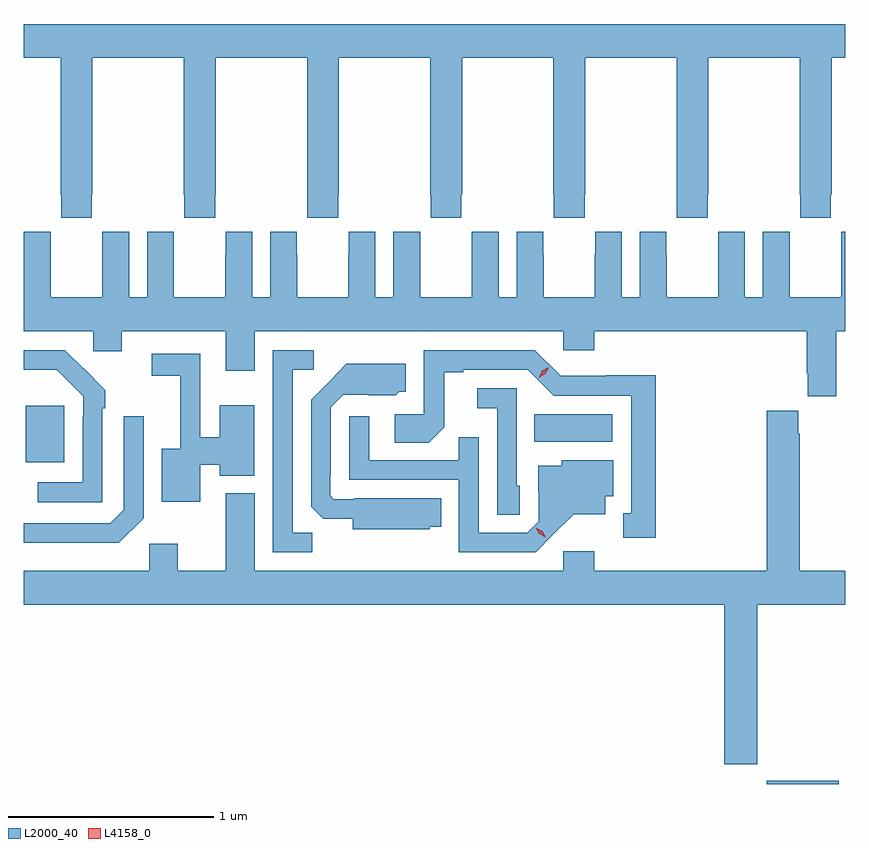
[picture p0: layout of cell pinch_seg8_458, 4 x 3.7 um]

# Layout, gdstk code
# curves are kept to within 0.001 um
import gdstk
lib = gdstk.Library(unit=1e-6, precision=1e-09)
def R(c, l, rs):  # rectangles x0, y0, x1, y1
    for r in rs: c.add(gdstk.rectangle(r[:2], r[2:], *l))
def P(c, l, *ps):  # polygons
    for p in ps: c.add(gdstk.Polygon(p, *l))
L2000_40 = (2000, 40)
L4158_0 = (4158, 0)

pinch_seg8_458 = lib.new_cell('pinch_seg8_458')
R(pinch_seg8_458, L2000_40, [(135.614,1128.946,135.964,1128.961), (132.005,1130.513,132.193,1130.788), (134.482,1130.612,134.863,1130.746)])
P(pinch_seg8_458, L2000_40, [(131.996,1132.484),(132.175,1132.484),(132.175,1131.817),(132.177,1131.817),(132.177,1131.705),(132.327,1131.705),(132.327,1131.817),(132.33,1131.817),(132.33,1132.484),(132.775,1132.484),(132.775,1131.817),(132.777,1131.817),(132.777,1131.705),(132.927,1131.705),(132.927,1131.817),(132.93,1131.817),(132.93,1132.484),(133.375,1132.484),(133.375,1131.817),(133.377,1131.817),(133.377,1131.705),(133.527,1131.705),(133.527,1131.817),(133.53,1131.817),(133.53,1132.484),(133.975,1132.484),(133.975,1131.817),(133.977,1131.817),(133.977,1131.705),(134.127,1131.705),(134.127,1131.817),(134.13,1131.817),(134.13,1132.484),(134.575,1132.484),(134.575,1131.817),(134.577,1131.817),(134.577,1131.705),(134.727,1131.705),(134.727,1131.817),(134.73,1131.817),(134.73,1132.484),(135.175,1132.484),(135.175,1131.817),(135.177,1131.817),(135.177,1131.705),(135.327,1131.705),(135.327,1131.817),(135.33,1131.817),(135.33,1132.484),(135.775,1132.484),(135.775,1131.817),(135.777,1131.817),(135.777,1131.705),(135.927,1131.705),(135.927,1131.817),(135.93,1131.817),(135.93,1132.484),(135.996,1132.484),(135.996,1132.648),(131.996,1132.648)],
  [(135.952,1131.152),(135.996,1131.152),(135.996,1131.637),(135.978,1131.637),(135.978,1131.524),(135.977,1131.524),(135.977,1131.316),(135.727,1131.316),(135.727,1131.524),(135.726,1131.524),(135.726,1131.637),(135.596,1131.637),(135.596,1131.316),(135.508,1131.316),(135.508,1131.637),(135.378,1131.637),(135.378,1131.524),(135.377,1131.524),(135.377,1131.316),(135.127,1131.316),(135.127,1131.524),(135.126,1131.524),(135.126,1131.637),(134.996,1131.637),(134.996,1131.316),(134.908,1131.316),(134.908,1131.637),(134.778,1131.637),(134.778,1131.524),(134.777,1131.524),(134.777,1131.316),(134.527,1131.316),(134.527,1131.524),(134.526,1131.524),(134.526,1131.637),(134.396,1131.637),(134.396,1131.316),(134.308,1131.316),(134.308,1131.637),(134.178,1131.637),(134.178,1131.524),(134.177,1131.524),(134.177,1131.316),(133.927,1131.316),(133.927,1131.524),(133.926,1131.524),(133.926,1131.637),(133.796,1131.637),(133.796,1131.316),(133.708,1131.316),(133.708,1131.637),(133.578,1131.637),(133.578,1131.524),(133.577,1131.524),(133.577,1131.316),(133.327,1131.316),(133.327,1131.524),(133.326,1131.524),(133.326,1131.637),(133.196,1131.637),(133.196,1131.316),(133.108,1131.316),(133.108,1131.637),(132.978,1131.637),(132.978,1131.524),(132.977,1131.524),(132.977,1131.316),(132.727,1131.316),(132.727,1131.524),(132.726,1131.524),(132.726,1131.637),(132.596,1131.637),(132.596,1131.316),(132.508,1131.316),(132.508,1131.637),(132.378,1131.637),(132.378,1131.524),(132.377,1131.524),(132.377,1131.316),(132.127,1131.316),(132.127,1131.524),(132.126,1131.524),(132.126,1131.637),(131.996,1131.637),(131.996,1131.152),(132.333,1131.152),(132.333,1131.054),(132.472,1131.054),(132.472,1131.152),(132.98,1131.152),(132.98,1130.958),(133.12,1130.958),(133.12,1131.152),(134.622,1131.152),(134.622,1131.059),(134.774,1131.059),(134.774,1131.152),(135.809,1131.152),(135.809,1130.947),(135.815,1130.947),(135.815,1130.835),(135.952,1130.835)],
  [(133.401,1130.171),(133.305,1130.171),(133.305,1130.964),(133.408,1130.964),(133.408,1131.06),(133.209,1131.06),(133.209,1130.076),(133.401,1130.076)],
  [(132.378,1130.777),(132.393,1130.777),(132.393,1130.865),(132.196,1131.06),(131.996,1131.06),(131.996,1130.964),(132.157,1130.964),(132.285,1130.835),(132.285,1130.735),(132.282,1130.735),(132.282,1130.415),(132.063,1130.415),(132.063,1130.319),(132.378,1130.319)],
  [(135.073,1130.936),(134.832,1130.936),(134.832,1130.934),(134.61,1130.934),(134.484,1131.06),(133.944,1131.06),(133.944,1130.748),(133.803,1130.748),(133.803,1130.608),(133.967,1130.608),(134.043,1130.684),(134.043,1130.952),(134.137,1130.952),(134.137,1130.964),(134.451,1130.964),(134.577,1130.838),(134.954,1130.838),(134.954,1130.265),(134.915,1130.265),(134.915,1130.145),(135.073,1130.145)],
  [(132.855,1130.5),(132.95,1130.5),(132.95,1130.447),(133.117,1130.447),(133.117,1130.791),(132.95,1130.791),(132.95,1130.636),(132.855,1130.636),(132.855,1131.042),(132.618,1131.042),(132.618,1130.934),(132.758,1130.934),(132.758,1130.578),(132.668,1130.578),(132.668,1130.321),(132.855,1130.321)],
  [(133.974,1130.198),(134.03,1130.198),(134.03,1130.338),(133.606,1130.338),(133.606,1130.334),(133.506,1130.334),(133.488,1130.352),(133.488,1130.452),(133.491,1130.452),(133.491,1130.781),(133.551,1130.841),(133.808,1130.84),(133.824,1130.856),(133.855,1130.856),(133.855,1130.992),(133.567,1130.992),(133.395,1130.818),(133.395,1130.296),(133.454,1130.237),(133.598,1130.237),(133.598,1130.186),(133.974,1130.186)],
  [(134.412,1130.4),(134.397,1130.4),(134.397,1130.874),(134.205,1130.874),(134.205,1130.777),(134.301,1130.777),(134.301,1130.257),(134.412,1130.257)],
  [(134.774,1130.08),(134.622,1130.08),(134.622,1129.984),(133.12,1129.984),(133.12,1130.362),(132.98,1130.362),(132.98,1129.984),(132.745,1129.984),(132.745,1130.116),(132.606,1130.116),(132.606,1129.984),(131.996,1129.984),(131.996,1129.82),(135.407,1129.82),(135.407,1129.041),(135.567,1129.041),(135.567,1129.82),(135.996,1129.82),(135.996,1129.984),(135.774,1129.984),(135.774,1130.651),(135.769,1130.651),(135.769,1130.764),(135.614,1130.764),(135.614,1129.984),(134.774,1129.984)],
  [(134.572,1130.159),(134.675,1130.261),(134.827,1130.261),(134.827,1130.348),(134.866,1130.348),(134.866,1130.524),(134.616,1130.524),(134.616,1130.497),(134.501,1130.497),(134.501,1130.368),(134.505,1130.368),(134.505,1130.226),(134.448,1130.169),(134.211,1130.169),(134.211,1130.636),(134.113,1130.636),(134.113,1130.523),(133.677,1130.523),(133.677,1130.737),(133.581,1130.737),(133.581,1130.427),(134.115,1130.427),(134.115,1130.076),(134.488,1130.076)],
  [(132.579,1130.241),(132.579,1130.737),(132.483,1130.737),(132.483,1130.283),(132.417,1130.217),(131.996,1130.217),(131.996,1130.12),(132.458,1130.12)])
P(pinch_seg8_458, L4158_0, [(134.503,1130.925),(134.503,1130.925),(134.52,1130.958),(134.552,1130.977),(134.552,1130.977),(134.552,1130.977),(134.535,1130.944),(134.504,1130.925)],
  [(134.537,1130.149),(134.506,1130.164),(134.489,1130.193),(134.489,1130.193),(134.489,1130.193),(134.52,1130.178),(134.537,1130.149),(134.537,1130.149)])

lib.write_gds('pinch_seg8_458.gds')
